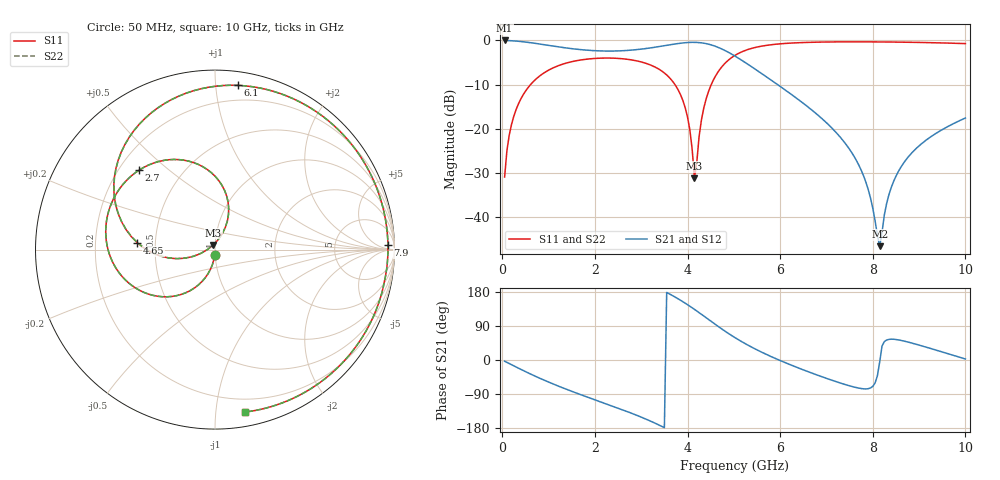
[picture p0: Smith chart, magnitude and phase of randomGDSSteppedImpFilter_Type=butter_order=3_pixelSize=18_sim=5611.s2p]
! freq	dB(S11)	phase(S11)	dB(S12)	phase(S12)
!  dB(S21)	phase(S21)	dB(S22)	phase(S22)
!S-par simulation data
#  GHz  S  DB  R 50
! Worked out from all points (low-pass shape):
!   200 points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, 50 MHz to 10 GHz, reference 50 ohm
!   highest |S21| = -0.01 dB at 50 MHz (marker M1); lowest = -46.5 dB at 8.15 GHz (marker M2)
!   |S21| within 3 dB of the highest: start of sweep to 4.938 GHz
!   lowest |S11| = -31.1 dB at 4.15 GHz (marker M3), VSWR 1.06, Z = 49 + j2.56 ohm
!   |S11| at or under -10 dB: start of sweep to 609.4 MHz; 3.729 GHz to 4.512 GHz (782.8 MHz wide, 19 % of centre)
!   |S22| runs from -31.0 to -0.3 dB; largest |S21 - S12| = 0
!   S11 on the Smith chart (normalised r, x): 50 MHz: 1.00, -0.06; 2.7 GHz: 0.28, +0.40; 4.65 GHz: 0.40, +0.04; 6.1 GHz: 0.09, +1.14; 7.9 GHz: 35, +26; 10 GHz: 0.10, -1.20
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0.05  -30.88 -93.3  -0.01 -3.2  -0.01 -3.2  -30.88 -93.3
0.2  -18.97 -103.0  -0.07 -12.5  -0.07 -12.5  -18.97 -103.0
0.5  -11.48 -121.1  -0.36 -30.6  -0.36 -30.6  -11.48 -121.1
1.05  -6.44 -151.4  -1.20 -60.8  -1.20 -60.8  -6.45 -151.4
1.75  -4.33 175.5  -2.14 -94.0  -2.14 -94.0  -4.33 175.5
2.7  -4.26 133.6  -2.27 -136.3  -2.27 -136.3  -4.26 133.6
3.4  -6.62 98.4  -1.37 -172.5  -1.37 -172.5  -6.62 98.3
3.95  -15.23 66.6  -0.52 149.9  -0.52 149.9  -15.22 66.6
4.05  -20.22 65.4  -0.45 141.9  -0.45 141.9  -20.21 65.5
4.15  -31.14 109.8  -0.43 133.6  -0.43 133.6  -31.02 110.0
4.35  -15.33 -163.9  -0.62 116.2  -0.62 116.2  -15.33 -164.1
4.65  -7.26 175.1  -1.52 89.6  -1.52 89.6  -7.26 174.9
5.05  -3.22 144.3  -3.70 57.1  -3.70 57.1  -3.22 144.2
5.55  -1.39 111.8  -7.13 23.7  -7.13 23.7  -1.39 111.7
6.1  -0.69 82.1  -11.14 -6.5  -11.14 -6.5  -0.69 81.9
6.7  -0.41 53.4  -15.87 -35.2  -15.87 -35.2  -0.41 53.3
7.45  -0.32 20.4  -23.89 -66.4  -23.89 -66.4  -0.32 20.3
7.9  -0.32 1.6  -33.64 -75.8  -33.64 -75.8  -0.32 1.4
8.15  -0.34 -8.7  -46.51 -4.9  -46.51 -4.9  -0.34 -8.8
8.35  -0.36 -16.7  -34.84 54.4  -34.84 54.4  -0.36 -16.8
8.9  -0.43 -38.2  -24.81 42.8  -24.81 42.8  -0.43 -38.3
10  -0.72 -79.5  -17.54 2.6  -17.54 2.6  -0.72 -79.5
